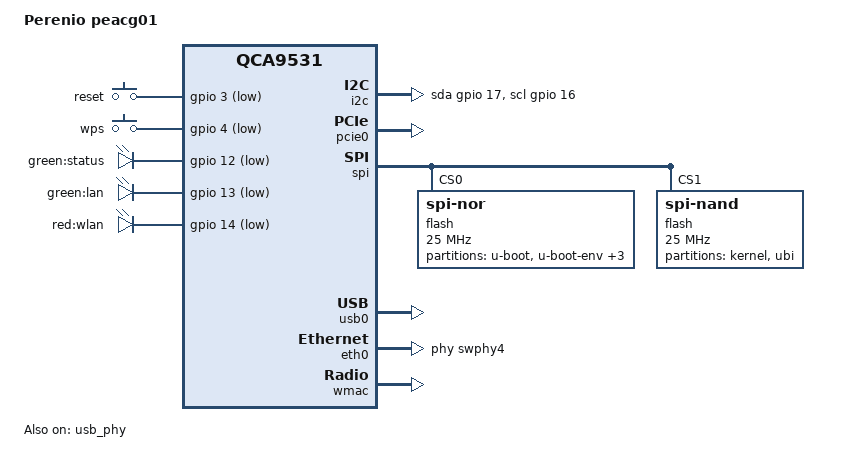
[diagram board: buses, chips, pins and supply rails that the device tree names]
// SPDX-License-Identifier: GPL-2.0-or-later OR MIT

#include "qca953x.dtsi"

#include <dt-bindings/gpio/gpio.h>
#include <dt-bindings/input/input.h>

/ {
	compatible = "perenio,peacg01", "qca,qca9531";
	model = "Perenio peacg01";

	aliases {
		led-boot = &led_status;
		led-failsafe = &led_status;
		led-running = &led_status;
		led-upgrade = &led_status;
		label-mac-device = &eth0;
	};

	keys {
		compatible = "gpio-keys";

		pinctrl-names = "default";
		pinctrl-0 = <&jtag_disable_pins>;

		reset {
			label = "reset";
			linux,code = <KEY_RESTART>;
			gpios = <&gpio 3 GPIO_ACTIVE_LOW>;
		};

		wps {
			label = "wps";
			linux,code = <BTN_0>;
			gpios = <&gpio 4 GPIO_ACTIVE_LOW>;
		};
	};

	leds {
		compatible = "gpio-leds";

		// Colors for non-Lite versions

		led_status: status {
			label = "green:status";
			gpios = <&gpio 12 GPIO_ACTIVE_LOW>;
		};

		lan {
			label = "green:lan";
			gpios = <&gpio 13 GPIO_ACTIVE_LOW>;
		};

		led_wlan: wlan {
			label = "red:wlan";
			gpios = <&gpio 14 GPIO_ACTIVE_LOW>;
			linux,default-trigger = "phy0tpt";
		};
	};

	i2c: i2c {
		compatible = "i2c-gpio";

		sda-gpios = <&gpio 17 (GPIO_ACTIVE_HIGH|GPIO_OPEN_DRAIN)>;
		scl-gpios = <&gpio 16 (GPIO_ACTIVE_HIGH|GPIO_OPEN_DRAIN)>;
	};
};

&pcie0 {
	status = "okay";
};

&spi {
	status = "okay";

	flash@0 {
		compatible = "jedec,spi-nor";
		reg = <0>;
		spi-max-frequency = <25000000>;

		partitions {
			compatible = "fixed-partitions";
			#address-cells = <1>;
			#size-cells = <1>;

			partition@0 {
				label = "u-boot";
				reg = <0x0 0x40000>;
				read-only;
			};

			partition@40000 {
				label = "u-boot-env";
				reg = <0x40000 0x10000>;
			};
			
			partition@50000 {
				label = "u-boot-env-bak";
				reg = <0x50000 0x10000>;
			};
			
			partition@60000 {
				label = "reserved";
				reg = <0x60000 0x10000>;
			};
			
			art: partition@70000 {
				label = "art";
				reg = <0x70000 0x10000>;
				read-only;
			};

		};
	};

	flash@1 {
		compatible = "spi-nand";
		reg = <1>;
		spi-max-frequency = <25000000>;

		partitions {
			compatible = "fixed-partitions";
			#address-cells = <1>;
			#size-cells = <1>;

			partition@0 {
				label = "kernel";
				reg = <0x0 0x400000>;
			};

			partition@400000 {
				label = "ubi";
				reg = <0x400000 0x7C00000>;
			};

		};
	};
};

&usb0 {
	#address-cells = <1>;
	#size-cells = <0>;
	status = "okay";
};

&usb_phy {
	status = "okay";
};

&eth0 {
	status = "okay";

	phy-handle = <&swphy4>;

	mtd-mac-address = <&art 0x0>;
};

&eth1 {
	compatible = "syscon", "simple-mfd";
};

&wmac {
	status = "okay";

	mtd-cal-data = <&art 0x1000>;
};
